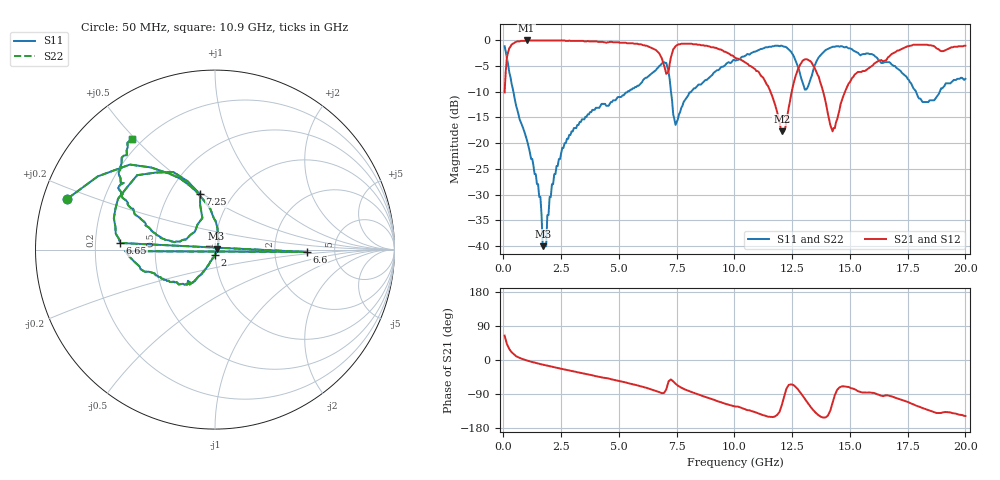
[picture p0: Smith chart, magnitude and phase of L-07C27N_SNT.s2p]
#	mhz	s	ma	r	50
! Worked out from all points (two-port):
!   400 points, 50 MHz to 20 GHz, reference 50 ohm
!   highest |S21| = -0.09 dB at 1 GHz (marker M1); lowest = -17.7 dB at 12.05 GHz (marker M2)
!   |S21| within 3 dB of the highest: 163.6 MHz to 6.799 GHz (6.635 GHz wide, 191 % of centre); 16.73 GHz to end of sweep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
!   lowest |S11| = -40.0 dB at 1.7 GHz (marker M3), VSWR 1.02, Z = 50.9 + j0.51 ohm
!   |S11| at or under -10 dB: 429 MHz to 5.381 GHz (4.952 GHz wide, 170 % of centre); 7.253 GHz to 8.131 GHz (878.5 MHz wide, 11.4 % of centre); 17.86 GHz to 18.89 GHz (1.032 GHz wide, 5.61 % of centre)
!   |S22| runs from -40.0 to -1.1 dB; largest |S21 - S12| = 0
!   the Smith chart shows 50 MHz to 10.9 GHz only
!   S11 on the Smith chart (normalised r, x): 50 MHz: 0.07, +0.17; 2 GHz: 1.00, -0.06; 6.6 GHz: 3.08, -0.11; 6.65 GHz: 0.31, +0.03; 7.25 GHz: 0.71, +0.49; 10.9 GHz: 0.16, +0.49
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50  0.87 161.0  0.31 64.3  0.31 64.3  0.87 161.0
350  0.38 111.3  0.9 20.8  0.9 20.8  0.38 111.3
1000  0.11 82.4  0.99 -1.0  0.99 -1.0  0.11 82.4
1600  0.03 53.1  0.99 -10.7  0.99 -10.7  0.03 53.1
1700  0.01 30.1  0.99 -12.2  0.99 -12.2  0.01 30.1
2000  0.03 -87.9  0.99 -16.3  0.99 -16.3  0.03 -87.9
3400  0.17 -120.3  0.98 -34.7  0.98 -34.7  0.17 -120.3
6550  0.5 -179.0  0.81 -80.5  0.81 -80.5  0.5 -179.0
6600  0.51 -1.5  0.8 -81.6  0.8 -81.6  0.51 -1.5
6650  0.53 176.0  0.78 -82.8  0.78 -82.8  0.53 176.0
6700  0.54 173.4  0.76 -83.8  0.76 -83.8  0.54 173.4
7250  0.32 105.3  0.68 -51.3  0.68 -51.3  0.32 105.3
7450  0.15 138.3  0.87 -62.5  0.87 -62.5  0.15 138.3
8150  0.32 166.5  0.92 -84.7  0.92 -84.7  0.32 166.5
10050  0.63 143.9  0.67 -123.0  0.67 -123.0  0.63 143.9
10900  0.77 127.1  0.52 -137.8  0.52 -137.8  0.77 127.1
12050  0.88 82.0  0.13 -119.2  0.13 -119.2  0.88 82.0
12650  0.63 52.6  0.45 -71.0  0.45 -71.0  0.63 52.6
13350  0.45 95.5  0.6 -127.9  0.6 -127.9  0.45 95.5
14250  0.86 47.9  0.13 -112.9  0.13 -112.9  0.86 47.9
16700  0.61 -7.4  0.69 -94.2  0.69 -94.2  0.61 -7.4
20000  0.42 -69.0  0.88 -147.8  0.88 -147.8  0.42 -69.0
